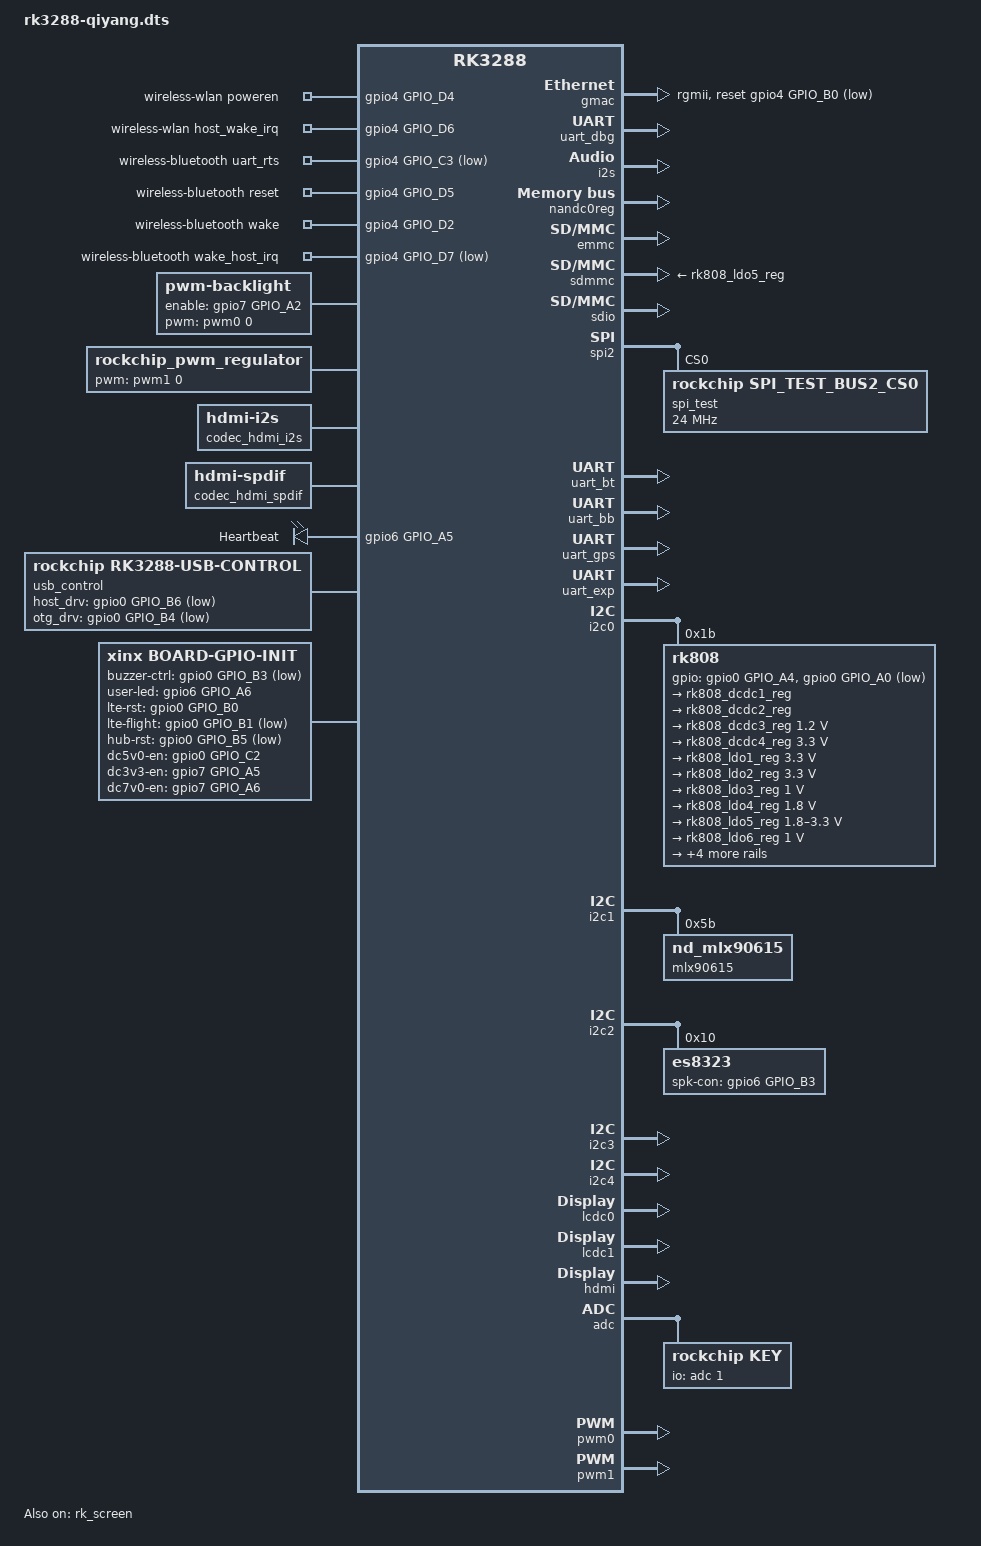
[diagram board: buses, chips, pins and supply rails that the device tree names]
/dts-v1/;

#include "rk3288.dtsi"
#include <dt-bindings/input/input.h>

/ {
	fiq-debugger {
		status = "disabled";
	};

    wireless-wlan {
        compatible = "wlan-platdata";

	/* wifi_chip_type - wifi chip define
	* bcmwifi ==> like ap6xxx, rk90x;
	* rtkwifi ==> like rtl8188xx, rtl8723xx,rtl8812auv;
	* esp8089 ==> esp8089;
	* other   ==> for other wifi;
	*/
	wifi_chip_type = "bcmwifi";
	sdio_vref = <1800>; //1800mv or 3300mv

	//keep_wifi_power_on;
	//power_ctrl_by_pmu;
        power_pmu_regulator = "act_ldo3";
        power_pmu_enable_level = <1>; //1->HIGH, 0->LOW

        //vref_ctrl_enable;
        //vref_ctrl_gpio = <&gpio0 GPIO_A2 GPIO_ACTIVE_HIGH>;
        vref_pmu_regulator = "act_ldo3";
        vref_pmu_enable_level = <1>; //1->HIGH, 0->LOW

        WIFI,poweren_gpio = <&gpio4 GPIO_D4 GPIO_ACTIVE_HIGH>;
        WIFI,host_wake_irq = <&gpio4 GPIO_D6 GPIO_ACTIVE_HIGH>;
        //WIFI,reset_gpio = <&gpio0 GPIO_A2 GPIO_ACTIVE_LOW>;

        status = "okay";
    };

    wireless-bluetooth {
        compatible = "bluetooth-platdata";

        //wifi-bt-power-toggle;

        uart_rts_gpios = <&gpio4 GPIO_C3 GPIO_ACTIVE_LOW>;
        pinctrl-names = "default","rts_gpio";
        pinctrl-0 = <&uart0_rts>;
        pinctrl-1 = <&uart0_rts_gpio>;

       // BT,power_gpio = <&gpio8 GPIO_A7 GPIO_ACTIVE_HIGH>;
        BT,reset_gpio = <&gpio4 GPIO_D5 GPIO_ACTIVE_HIGH>;
        BT,wake_gpio = <&gpio4 GPIO_D2 GPIO_ACTIVE_HIGH>;
        BT,wake_host_irq = <&gpio4 GPIO_D7 GPIO_ACTIVE_LOW>;

        status = "okay";
    };
    
	backlight {
			compatible = "pwm-backlight";
			pwms = <&pwm0 0 3333333>;
			brightness-levels = <
0 1 2 3 4 5 6 7 8 9 10 11 12 13 14 15 16 17 18 19 20 21 22 23 24 25 26 27 28 29 
30 31 32 33 34 35 36 37 38 39 40 41 42 43 44 45 46 47 48 49 50 51 52 53 54 55 56 57 58 59 
60 61 62 63 64 65 66 67 68 69 70 71 72 73 74 75 76 77 78 79 80 81 82 83 84 85 86 87 88 89 
90 91 92 93 94 95 96 97 98 99 100 101 102 103 104 105 106 107 108 109 110 111 112 113 114 115 116 117 118 119 
120 121 122 123 124 125 126 127 128 129 130 131 132 133 134 135 136 137 138 139 140 141 142 143 144 145 146 147 148 149 
150 151 152 153 154 155 156 157 158 159 160 161 162 163 164 165 166 167 168 169 170 171 172 173 174 175 176 177 178 179 
180 181 182 183 184 185 186 187 188 189 190 191 192 193 194 195 196 197 198 199 200 201 202 203 204 205 206 207 208 209 
210 211 212 213 214 215 216 217 218 219 220 221 222 223 224 225 226 227 228 229 230 231 232 233 234 235 236 237 238 239 
240 241 242 243 244 245 246 247 248 249 250 251 252 253 254 255>;
			default-brightness-level = <255>;
			enable-gpios = <&gpio7 GPIO_A2 GPIO_ACTIVE_HIGH>;
		};

	pwm_regulator {
		compatible = "rockchip_pwm_regulator";
		pwms = <&pwm1 0 2000>;
		rockchip,pwm_id= <1>;
		rockchip,pwm_voltage_map= <925000 950000 975000 1000000 1025000 1050000 1075000 1100000 1125000 1150000 1175000 1200000 1225000 1250000 1275000 1300000 1325000 1350000 1375000 1400000>;
		rockchip,pwm_voltage= <1100000>;
		rockchip,pwm_min_voltage= <925000>;
		rockchip,pwm_max_voltage= <1400000>;
		rockchip,pwm_suspend_voltage= <950000>;
		rockchip,pwm_coefficient= <475>;
		regulators {
			#address-cells = <1>;
			#size-cells = <0>;
			pwm_reg0: regulator@0 {
				regulator-compatible = "pwm_dcdc1";
				regulator-name= "vdd_logic";
				regulator-min-microvolt = <925000>;
				regulator-max-microvolt = <1400000>;
				regulator-always-on;
				regulator-boot-on;
			};
		};
	};

	codec_hdmi_i2s: codec-hdmi-i2s {
		compatible = "hdmi-i2s";
	};

	
	codec_hdmi_spdif: codec-hdmi-spdif {
		compatible = "hdmi-spdif";
	};
	
	rockchip-hdmi-i2s {
		status = "okay";
		compatible = "rockchip-hdmi-i2s";
		dais {
			dai0 {
				audio-codec = <&codec_hdmi_i2s>;
				audio-controller = <&i2s>;
				format = "i2s";
				//continuous-clock;
				//bitclock-inversion;
				//frame-inversion;
				//bitclock-master;
				//frame-master;
			};
		};
	};

	rockchip-spdif-card {
		status = "disable";
		compatible = "rockchip-spdif-card";
		dais {
    		dai0 {
				audio-codec = <&codec_hdmi_spdif>;
				audio-controller = <&spdif>;
			};
		};
	};

	rockchip-es8323 {
		compatible = "rockchip-es8323";
		dais {
			dai0 {
				audio-codec = <&es8323>;
				audio-controller = <&i2s>;
				format = "i2s";
				//continuous-clock;
				//bitclock-inversion;
				//frame-inversion;
				//bitclock-master;
				//frame-master;
			};
		};
	};
	
 	leds {
       compatible = "gpio-leds";
       debug-led {
			label = "Heartbeat";
			gpios = <&gpio6 GPIO_A5 GPIO_ACTIVE_HIGH>;
			linux,default-trigger = "heartbeat";
            default-state = "on";
		};
   }; 

	usb_control {
		compatible = "rockchip,rk3288-usb-control";

		host_drv_gpio = <&gpio0 GPIO_B6 GPIO_ACTIVE_LOW>;
		otg_drv_gpio = <&gpio0 GPIO_B4 GPIO_ACTIVE_LOW>;

		rockchip,remote_wakeup;
		rockchip,usb_irq_wakeup;
	};

	board-gpio-init{
		compatible = "xinx,board-gpio-init";
	    buzzer-ctrl = <&gpio0 GPIO_B3 GPIO_ACTIVE_LOW>;
	    user-led = <&gpio6 GPIO_A6 GPIO_ACTIVE_HIGH>;
	    lte-rst = <&gpio0 GPIO_B0 GPIO_ACTIVE_HIGH>;	/*ignore conf, driver set 1 to reset 4g, 0 to work normal */
	    lte-flight = <&gpio0 GPIO_B1 GPIO_ACTIVE_LOW>;
	    hub-rst = <&gpio0 GPIO_B5 GPIO_ACTIVE_LOW>;		/*ignore conf, driver set 0 to reset hub, 1 to work normal*/
	    dc5v0-en = <&gpio0 GPIO_C2 GPIO_ACTIVE_HIGH>;
	    dc3v3-en = <&gpio7 GPIO_A5 GPIO_ACTIVE_HIGH>;
	    dc7v0-en = <&gpio7 GPIO_A6 GPIO_ACTIVE_HIGH>;
	    dvp-en = <&gpio0 GPIO_C1 GPIO_ACTIVE_HIGH>;
	    dc12v0-en = <&gpio7 GPIO_B2 GPIO_ACTIVE_HIGH>;
		//edp-hotplug = <&gpio4 GPIO_D5 GPIO_ACTIVE_HIGH>;
		
		//hardware-ver0 = <&gpio4 GPIO_D5 GPIO_ACTIVE_LOW>;
		//hardware-ver1 = <&gpio4 GPIO_D6 GPIO_ACTIVE_LOW>;
		//hardware-ver2 = <&gpio4 GPIO_D7 GPIO_ACTIVE_LOW>;
	    hardware-ver0 = <&gpio7 GPIO_B4 GPIO_ACTIVE_LOW>;
	    hardware-ver1 = <&gpio7 GPIO_B5 GPIO_ACTIVE_LOW>;
	    hardware-ver2 = <&gpio7 GPIO_B6 GPIO_ACTIVE_LOW>;
	    user-gpios = < &gpio5 GPIO_B2 GPIO_ACTIVE_LOW
	    			 &gpio5 GPIO_B3 GPIO_ACTIVE_LOW
	    			 &gpio5 GPIO_B4 GPIO_ACTIVE_LOW
	    			 &gpio5 GPIO_B5 GPIO_ACTIVE_LOW
	    			 &gpio5 GPIO_C0 GPIO_ACTIVE_LOW
	    			 &gpio5 GPIO_C1 GPIO_ACTIVE_LOW
	    			 &gpio5 GPIO_C2 GPIO_ACTIVE_LOW
	    			 &gpio5 GPIO_C3 GPIO_ACTIVE_LOW
	    			 &gpio8 GPIO_A0 GPIO_ACTIVE_LOW
	    			 &gpio8 GPIO_A1 GPIO_ACTIVE_LOW
	    			 &gpio8 GPIO_A2 GPIO_ACTIVE_LOW
	    			 &gpio8 GPIO_A3 GPIO_ACTIVE_LOW>;
		status = "ok";
	};

};

&gmac {
//	pmu_regulator = "act_ldo5";
//	pmu_enable_level = <1>; //1->HIGH, 0->LOW
//	power-gpio = <&gpio0 GPIO_A6 GPIO_ACTIVE_HIGH>;
	reset-gpio = <&gpio4 GPIO_B0 GPIO_ACTIVE_LOW>;
	phy-mode = "rgmii";
	clock_in_out = "input";
	tx_delay = <0x20>;
	rx_delay = <0x1>;
};

&uart_dbg {
	 status = "okay";
};

&spdif {
	 status = "disabled";
};

&i2s {
        status = "okay";
		pinctrl-0 = <&i2s_mclk &i2s_sclk &i2s_lrckrx &i2s_lrcktx &i2s_sdi &i2s_sdo0>;
};

&pinctrl {
	//used for init some gpio
	init-gpios = <&gpio4 GPIO_B0 GPIO_ACTIVE_HIGH
					&gpio7 GPIO_B2 GPIO_ACTIVE_LOW>;
				//&gpio7 GPIO_A5 GPIO_ACTIVE_HIGH
				//&gpio0 GPIO_C2 GPIO_ACTIVE_HIGH>;

	// gmac drive strength
	gpio4_gmac {
		mac_clk: mac-clk {
			rockchip,drive = <VALUE_DRV_12MA>;
		};

		mac_txpins: mac-txpins {
			rockchip,drive = <VALUE_DRV_12MA>;
		};

		mac_rxpins: mac-rxpins {
			rockchip,drive = <VALUE_DRV_12MA>;
		};

		mac_crs: mac-crs {
			rockchip,drive = <VALUE_DRV_12MA>;
		};

		mac_mdpins: mac-mdpins {
			rockchip,drive = <VALUE_DRV_12MA>;
		};
	};
};
&nandc0 {
	status = "disabled"; // used nand set "okay" ,used emmc set "disabled"
};
&nandc1 {
	status = "disabled"; // used nand set "okay" ,used emmc set "disabled"
};

&nandc0reg {
	status = "okay"; // used nand set "okay" ,used emmc set "disabled"
};
&emmc {
	clock-frequency = <100000000>;
	clock-freq-min-max = <400000 100000000>;

        supports-highspeed;
	supports-emmc;
        bootpart-no-access;

	//supports-tSD;//only tsd-sdcard mode 
	supports-DDR_MODE;
	caps2-mmc-hs200;

        ignore-pm-notify;
		keep-power-in-suspend;
		//poll-hw-reset
		status = "okay";
};

&sdmmc {
		clock-frequency = <50000000>;
		lock-freq-min-max = <400000 50000000>;
		supports-highspeed;
		supports-sd;
		broken-cd;
		card-detect-delay = <200>;

		ignore-pm-notify;
		keep-power-in-suspend;

		vmmc-supply = <&rk808_ldo5_reg>;
		status = "okay";
};

&sdio {
		clock-frequency = <50000000>;
		clock-freq-min-max = <200000 50000000>;
		supports-highspeed;
		supports-sdio;
		ignore-pm-notify;
		keep-power-in-suspend;
		//cap-sdio-irq;
		status = "okay";
};

&spi0 {
	status = "disabled";
	max-freq = <48000000>;
};

&spi1 {
	status = "disabled";
	max-freq = <48000000>;
	/*
	spi_test@10 {
	        compatible = "rockchip,spi_test_bus1_cs0";
	        reg = <0>;
	        spi-max-frequency = <24000000>;
	        //spi-cpha;
		//spi-cpol;
	        poll_mode = <0>;
	        type = <0>;
		enable_dma = <0>;
	};*/
};

&spi2 {
	status = "okay";
	max-freq = <48000000>;
	pinctrl-0 = <&spi2_txd &spi2_rxd &spi2_clk &spi2_cs0 >;
	spi_test@20 {
	        compatible = "rockchip,spi_test_bus2_cs0";
	        reg = <0>;
	        spi-max-frequency = <24000000>;
	        //spi-cpha;
		//spi-cpol;
	        poll_mode = <0>;
	        type = <0>;
		enable_dma = <0>;
	};
};

&uart_bt {
        status = "okay";
        dma-names = "!tx", "!rx";
        pinctrl-0 = <&uart0_xfer &uart0_cts>;
};

&uart_bb {
    pinctrl-0 = <&uart1_xfer>;
    status = "okay";
};

&uart_gps {
    pinctrl-0 = <&uart3_xfer>;
    status = "okay";
};

&uart_exp {
    pinctrl-0 = <&uart4_xfer>;
    status = "okay";
};

&i2c0 {
	status = "okay";
	rk808: rk808@1b {
		reg = <0x1b>;
		status = "okay";
	};
		
};

&i2c1 {
	status = "okay";
	mlx90615: mlx90615@5B {
	    compatible = "nd_mlx90615";
		reg = <0x5B>;
	};
};

&i2c2 {
	status = "okay";
	es8323: es8323@10 {
	    compatible = "es8323";
		reg = <0x10>;
		spk-con-gpio = <&gpio6 GPIO_B3 GPIO_ACTIVE_HIGH>;
		//hp-det-gpio = <&gpio7 GPIO_B7 GPIO_ACTIVE_HIGH>;
		//hp-mic-only = <1>;
		clocks = <&clk_i2s>, <&clk_i2s_out>;
		clock-names = "i2s_clk","i2s_mclk";
		pinctrl-names = "default";
		pinctrl-0 = <&i2s_mclk>;
	};
};

&i2c3 {
	status = "okay";
};

&i2c4 {
	status = "okay";
};

&i2c5 {
	status = "disabled";
};

&fb {
	rockchip,disp-mode = <DUAL>;
	rockchip,uboot-logo-on = <0>;
	rockchip,disp-policy = <DISPLAY_POLICY_SDK>;
};


&rk_screen {
	status = "okay";
	//#include "lcd-LP097Qx1.dtsi"		// edp
	#include "lcd-b101ew05.dtsi"		// lvds
};

/*lcdc0 as PRMRY(HDMI)*/
&lcdc0 {
	status = "okay";
	rockchip,iommu-enabled = <1>;
	rockchip,prop = <PRMRY>;
};

&lcdc1 {
	status = "okay";
	rockchip,iommu-enabled = <1>;
	rockchip,prop = <EXTEND>;
};

&hdmi {
	status = "okay";
	rockchip,defaultmode = <5>;
	rockchip,cec_enable = <0>;
	rockchip,hdcp_enable = <0>;
	rockchip,hdmi_audio_source = <0>;
	rockchip,hdmi_video_source = <DISPLAY_SOURCE_LCDC1>;
}; 

&ion_cma {
	       reg = <0x00000000 0x1000000>; /* 16MB */
}; 

&vpu {
	iommu_enabled = <1>;
};

&hevc {
	iommu_enabled = <1>;
};

&iep {
	iommu_enabled = <1>;
};

&adc {
	status = "okay";

	key {
		compatible = "rockchip,key";		
		io-channels = <&adc 1>;

		power-key {
			gpios = <&gpio0 GPIO_A5 GPIO_ACTIVE_LOW>;
			linux,code = <116>;
			label = "power";
			gpio-key,wakeup;
		};
		recovery-key {
			linux,code = <113>;
			label = "recovery";
			rockchip,adc_value = <4>;
		};

		blacklight-ctrl {
			gpios = <&gpio0 GPIO_A7 GPIO_ACTIVE_LOW>;
			linux,code = <118>;
			label = "user-key";
		};

		user-key {
			gpios = <&gpio7 GPIO_B1 GPIO_ACTIVE_LOW>;
			linux,code = <117>;
			label = "blacklight-en";
		};
		
	};
};

&pwm0 {
        status = "okay";
};

&pwm1 {
	status = "okay";
};

&clk_core_dvfs_table {
	support-pvtm = <1>;
	pvtm-operating-points = <
		/* KHz    uV	pvtm margin*/
//		126000   900000	25000
//		216000   900000	25000
//		312000   900000	25000
		408000   900000	25000
		600000   950000	50000
		696000   950000	50000
		816000  1000000	50000
		1008000 1050000	75000
		1200000 1100000	75000
		1416000 1200000	75000
		1512000 1300000	75000
		1608000 1350000	75000
//		1704000 1350000	75000
//		1800000 1350000	75000
		>;
	status="okay";
};

&clk_gpu_dvfs_table {
	operating-points = <
		/* KHz    uV */
//		100000 900000
		200000 900000
		300000 950000
		420000 1100000
		500000 1150000
//		600000 1250000
		>;
	status="okay";
};

&clk_ddr_dvfs_table {
	operating-points = <
		/* KHz    uV */
		200000 1075000
		300000 1075000
		456000 1125000
		533000 1150000
		>;

	freq-table = <
		/*status		freq(KHz)*/
		SYS_STATUS_NORMAL	456000
		SYS_STATUS_SUSPEND	200000
		//SYS_STATUS_VIDEO_1080P  240000
		SYS_STATUS_VIDEO_4K     533000
		SYS_STATUS_PERFORMANCE  533000
		//SYS_STATUS_BOOST	324000
		//SYS_STATUS_ISP	400000
		>;
	auto-freq-table = <
		240000
		324000
		456000
		528000
		>;
	auto-freq=<0>;
	status="okay";
};

/include/ "rk808.dtsi"
&rk808 {
	gpios =<&gpio0 GPIO_A4 GPIO_ACTIVE_HIGH>,<&gpio0 GPIO_A0 GPIO_ACTIVE_LOW>;
	rk808,system-power-controller;

	regulators {

		rk808_dcdc1_reg: regulator@0{
			regulator-name= "vdd_arm";
			regulator-always-on;
			regulator-boot-on;
		};

		rk808_dcdc2_reg: regulator@1 {
			regulator-name= "vdd_gpu";
			regulator-always-on;
			regulator-boot-on;
		};

		rk808_dcdc3_reg: regulator@2 {
			regulator-name= "rk_dcdc3";
			regulator-min-microvolt = <1200000>;
			regulator-max-microvolt = <1200000>;
			regulator-always-on;
			regulator-boot-on;
		};

		rk808_dcdc4_reg: regulator@3 {
			regulator-name= "vccio";
			regulator-min-microvolt = <3300000>;
			regulator-max-microvolt = <3300000>;
			regulator-always-on;
			regulator-boot-on;
		};

    /* NO USED, 3.3V*/
		rk808_ldo1_reg: regulator@4 {
			regulator-name= "rk_ldo1";
			regulator-min-microvolt = <3300000>;
			regulator-max-microvolt = <3300000>;
			regulator-always-on;
			regulator-boot-on;
		};

    /* BOX:RK1000s, 3.3V  */
		rk808_ldo2_reg: regulator@5 {
			regulator-name= "rk_ldo2";
			regulator-min-microvolt = <3300000>;
			regulator-max-microvolt = <3300000>;
			regulator-always-on;
			regulator-boot-on;
		};

    /* RK3288 PLL,USB PHY, 1.0V */
		rk808_ldo3_reg: regulator@6 {
			regulator-name= "rk_ldo3";
			regulator-min-microvolt = <1000000>;
			regulator-max-microvolt = <1000000>;
			regulator-always-on;
			regulator-boot-on;
		};

    /* BOX:RK1000S CORE, 1.8V  */
		rk808_ldo4_reg:regulator@7 {
			regulator-name= "rk_ldo4";
			regulator-min-microvolt = <1800000>;
			regulator-max-microvolt = <1800000>;
			regulator-always-on;
			regulator-boot-on;
		};

    /* SDMMC IO, 3.3V*/
		rk808_ldo5_reg: regulator@8 {
			regulator-name= "vcc_sd";
			regulator-min-microvolt = <1800000>;
			regulator-max-microvolt = <3300000>;
			regulator-always-on;
			regulator-boot-on;
		};

    /* CAMERA, 1.8V  box modify*/
		rk808_ldo6_reg: regulator@9 {
			regulator-name= "rk_ldo6";
			regulator-min-microvolt = <1000000>;
			regulator-max-microvolt = <1000000>;
			regulator-always-on;
			regulator-boot-on;
		};

    /* RK3288 USB PHY, SAR-ADC, WIFI IO, 1.8V */
		rk808_ldo7_reg: regulator@10 {
			regulator-name= "rk_ldo7";
			regulator-min-microvolt = <1800000>;
			regulator-max-microvolt = <1800000>;
			regulator-always-on;
			regulator-boot-on;
		};

    /* DTV, 3.3V  box modify*/
		rk808_ldo8_reg: regulator@11 {
			regulator-name= "rk_ldo8";
			regulator-min-microvolt = <1800000>;
			regulator-max-microvolt = <1800000>;
			regulator-always-on;
			regulator-boot-on;
		};

		rk808_ldo9_reg: regulator@12 {
			regulator-name= "rk_ldo9";
			regulator-always-on;
			regulator-boot-on;
		};

		rk808_ldo10_reg: regulator@13 {
			regulator-name= "rk_ldo10";
			regulator-always-on;
			regulator-boot-on;
		};
	};
};

&lcdc_vdd_domain {
	regulator-name = "vcc30_lcd";
	};
&dpio_vdd_domain{
	regulator-name = "vcc18_cif";
	};
&flash0_vdd_domain{
	regulator-name = "vcc_flash";
	};
&flash1_vdd_domain{
	regulator-name = "vcc_flash";
	};
&apio3_vdd_domain{
	regulator-name = "vccio_wl";
	};
&apio5_vdd_domain{
	regulator-name = "vccio";
	};
&apio4_vdd_domain{
	regulator-name = "vccio";
	};
&apio1_vdd_domain{
	regulator-name = "vccio";
	};
&apio2_vdd_domain{
	regulator-name = "vccio";
	};
&sdmmc0_vdd_domain{
	regulator-name = "vcc_sd";
	};

